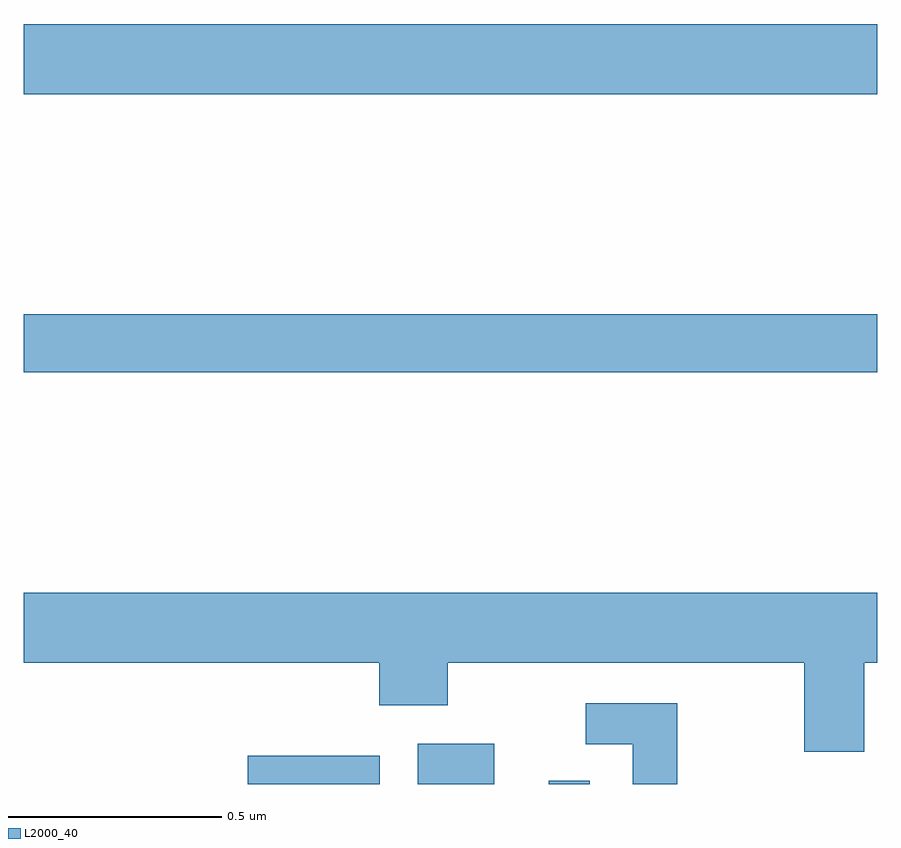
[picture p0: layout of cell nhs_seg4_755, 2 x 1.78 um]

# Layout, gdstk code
import gdstk
lib = gdstk.Library(unit=1e-6, precision=1e-09)
def R(c, l, rs):  # rectangles x0, y0, x1, y1
    for r in rs: c.add(gdstk.rectangle(r[:2], r[2:], *l))
def P(c, l, *ps):  # polygons
    for p in ps: c.add(gdstk.Polygon(p, *l))
L2000_40 = (2000, 40)

nhs_seg4_755 = lib.new_cell('nhs_seg4_755')
R(nhs_seg4_755, L2000_40, [(120.525,765.9,120.834,765.966), (120.923,765.9,121.102,765.994), (121.23,765.9,121.326,765.908), (120,766.864,122,767), (120,767.516,122,767.68)])
P(nhs_seg4_755, L2000_40, [(121.969,766.184),(122,766.184),(122,766.348),(120,766.348),(120,766.184),(120.833,766.184),(120.833,766.085),(120.993,766.085),(120.993,766.184),(121.829,766.184),(121.829,765.976),(121.969,765.976)],
  [(121.531,766.089),(121.317,766.089),(121.317,765.993),(121.427,765.993),(121.427,765.9),(121.531,765.9)])

lib.write_gds('nhs_seg4_755.gds')
